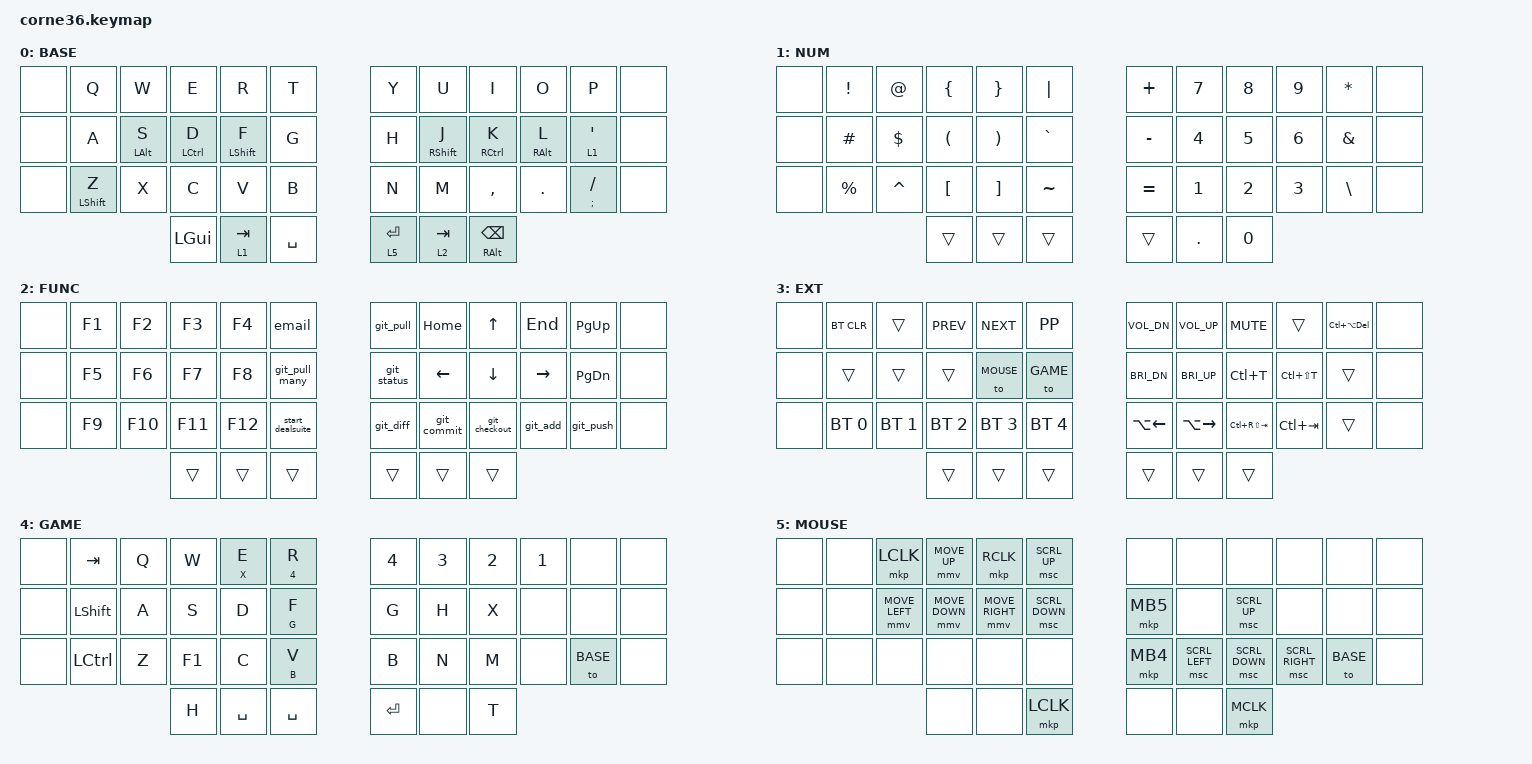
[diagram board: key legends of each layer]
/*
 * Copyright (c) 2020 The ZMK Contributors
 *
 * SPDX-License-Identifier: MIT
 */

#include <behaviors.dtsi>
#include <dt-bindings/zmk/bt.h>
#include <dt-bindings/zmk/keys.h>

#define ZMK_POINTING_DEFAULT_MOVE_VAL 1500  // default: 600
#define ZMK_POINTING_DEFAULT_SCRL_VAL 20    // default: 10

#include <dt-bindings/zmk/pointing.h>

#define BASE  0
#define NUM   1
#define FUNC  2
#define EXT   3
#define GAME  4
#define MOUSE 5

&soft_off {
    hold-time-ms = <2000>; // Only turn off it the key is held for 2 seconds or longer.
};


/ {
    behaviors {
        hm: homerow_mods {
            compatible = "zmk,behavior-hold-tap";
            bindings = <&kp>, <&kp>;

            #binding-cells = <2>;
            tapping-term-ms = <200>;
            flavor = "tap-preferred";
            require-prior-idle-ms = <125>;
            quick-tap-ms = <200>;
        };
    };

    combos {
        compatible = "zmk,combos";

        Clear_BLE_Profile {
            bindings = <&bt BT_CLR>;
            key-positions = <38 5 1>;
        };

        space {
            bindings = <&kp SPACE>;
            key-positions = <18 19>;
        };

        enter {
            bindings = <&kp ENTER>;
            key-positions = <17 16>;
        };

        return {
            bindings = <&kp RET>;
            key-positions = <21 22>;
        };

        escape {
            bindings = <&kp ESC>;
            key-positions = <1 2>;
        };

        underline {
            bindings = <&kp UNDER>;
            key-positions = <8 7>;
        };

        dash {
            bindings = <&kp MINUS>;
            key-positions = <7 6>;
        };

        backslsh {
            bindings = <&kp BSLH>;
            key-positions = <33 34>;
        };

        reload {
            bindings = <&kp LC(R)>;
            key-positions = <4 5>;
        };

        undo {
            bindings = <&kp LC(Z)>;
            key-positions = <26 25>;
        };

        cut {
            bindings = <&kp LC(X)>;
            key-positions = <26 27>;
        };

        copy {
            bindings = <&kp LC(C)>;
            key-positions = <27 28>;
        };

        paste {
            bindings = <&kp LC(V)>;
            key-positions = <28 29>;
        };

        select_all {
            bindings = <&kp LC(A)>;
            key-positions = <13 14>;
        };

        save {
            bindings = <&kp LC(S)>;
            key-positions = <14 15>;
        };

        all_caps {
            bindings = <&kp CAPS>;
            key-positions = <16 19>;
        };

        soft_off {
            bindings = <&soft_off>;
            key-positions = <25 29 38>;
        };

        backspace {
            bindings = <&kp BACKSPACE>;
            key-positions = <10 9>;
        };
    };

    macros {
        email: email {
            compatible = "zmk,behavior-macro";
            #binding-cells = <0>;
            bindings = <&none &kp B &kp R &kp Y &kp A &kp N &kp AT &kp P &kp E &kp C &kp J &kp O &kp DOT &kp C &kp O &kp M>;
            wait-ms = <0>; 
        };

        git_status: git_status {
            compatible = "zmk,behavior-macro";
            #binding-cells = <0>;
            bindings = <&kp G &kp I &kp T &kp SPACE &kp S &kp T &kp A &kp T &kp U &kp S>;
            wait-ms = <0>; 
        };

        git_pull: git_pull {
            compatible = "zmk,behavior-macro";
            #binding-cells = <0>;
            bindings = <&kp G &kp I &kp T &kp SPACE &kp P &kp U &kp L &kp L>;
            wait-ms = <0>; 
        };

        git_pull_many: git_pull_many {
            compatible = "zmk,behavior-macro";
            #binding-cells = <0>;
            bindings = <
                &kp LC(R) &kp G &kp I &kp T &kp SPACE
                &kp MINUS &kp LEFT_SHIFT &kp C
                &kp SPACE &kp LBRC &kp RBRC &kp SPACE
                &kp P &kp U &kp L &kp L &kp SQT
            >;
            wait-ms = <0>; 
        };

        git_push: git_push {
            compatible = "zmk,behavior-macro";
            #binding-cells = <0>;
            bindings = <&kp G &kp I &kp T &kp SPACE &kp P &kp U &kp S &kp H>;
            wait-ms = <0>; 
        };

        git_add: git_add {
            compatible = "zmk,behavior-macro";
            #binding-cells = <0>;
            bindings = <&kp G &kp I &kp T &kp SPACE &kp A &kp D &kp D &kp SPACE &kp DOT>;
            wait-ms = <0>; 
        };

        git_diff: git_diff {
            compatible = "zmk,behavior-macro";
            #binding-cells = <0>;
            bindings = <&kp G &kp I &kp T &kp SPACE &kp D &kp I &kp F &kp F>;
            wait-ms = <0>; 
        };

        git_checkout: git_checkout {
            compatible = "zmk,behavior-macro";
            #binding-cells = <0>;
            bindings = <&kp G &kp I &kp T &kp SPACE &kp C &kp H &kp E &kp C &kp K &kp O &kp U &kp T &kp SPACE>;
            wait-ms = <0>; 
        };

        git_commit: git_commit {
            compatible = "zmk,behavior-macro";
            #binding-cells = <0>;
            bindings = <
                &kp G &kp I &kp T &kp SPACE &kp C &kp O &kp M &kp M &kp I &kp T &kp SPACE 
                &kp MINUS &kp M &kp SPACE &kp DOUBLE_QUOTES &kp DOUBLE_QUOTES &kp LEFT
            >;
            wait-ms = <0>; 
        };

        start_dealsuite: start_dealsuite {
            compatible = "zmk,behavior-macro";
            #binding-cells = <0>;
            bindings =
                <&kp LC(R)>,
                <&macro_wait_time 50>,
                <&kp C &kp E &kp L &kp E &kp RET>,
                <&macro_wait_time 2000>,
                <&kp LC(LS(N5)) &kp LC(R)>,
                <&macro_wait_time 50>,
                <&kp R &kp U &kp N &kp SPACE &kp RET>,
                <&macro_wait_time 2000>,
                <&kp LC(LS(N5)) &kp LC(R)>,
                <&macro_wait_time 50>,
                <&kp A &kp P &kp P &kp DOT &kp RET>,
                <&macro_wait_time 2000>,
                <&kp LC(LS(N5)) &kp LC(R)>,
                <&macro_wait_time 50>,
                <&kp R &kp U &kp N &kp S &kp RET>,
                <&macro_wait_time 2000>,
                <&kp LC(LS(N1)) &kp LC(R)>,
                <&macro_wait_time 50>
                //,<&kp N &kp G &kp RET>
                ;
        };
    };

    keymap {
        compatible = "zmk,keymap";

        base_layer {
            label = "BASE";
            //╭──────────┬──────────┬──────────┬──────────┬──────────╮   ╭──────────┬──────────┬──────────┬──────────┬──────────╮
            //│    Q   [esc]  W     │     E    │    R [reload]  T    │   │   Y    [ - ]  U   [ _ ]  I     │   O    [ ⌫ ]  P    │
            //├──────────┼──────────┼──────────┼──────────┼──────────┤   ├──────────┼──────────┼──────────┼──────────┼──────────┤
            //│    A   [all]  S   [save]  D    │    F   [ ↵ ]   G    │   │   H   [space]  J    │    K     │   L    [ ↵ ]  '"    │
            //├──────────┼──────────┼──────────┼──────────┼──────────┤   ├──────────┼──────────┼──────────┼──────────┼──────────┤
            //│    Z   [ ⭮ ]  X  [ ✂ ]   C  [copy] V  [paste]  B    │   │   N      │    M     │   ,<     │  .>    [ \ ]  /?    │
            //╰──────────┴──────────┼──────────┼──────────┼──────────┤   ├──────────┼──────────┼──────────┼──────────┴──────────╯
            //                      │    ⊞     │  🔽/↹  │  SPACE   │   │   🖯/⏎   │   🔼/↹  │  ALT/⌫  │
            //                      ╰──────────┴──────────┴──────────╯   ╰──────────┴──────────┴──────────╯

            bindings = <
&none  &kp Q       &kp W      &kp E       &kp R       &kp T         &kp Y     &kp U       &kp I       &kp O      &kp P         &none
&none  &kp A       &hm LALT S &hm LCTRL D &hm LSHFT F &kp G         &kp H     &hm RSHFT J &hm RCTRL K &hm RALT L &lt 1 SQT     &none
&none  &hm LSHFT Z &kp X      &kp C       &kp V       &kp B         &kp N     &kp M       &kp COMMA   &kp DOT    &hm SEMI FSLH &none
                              &kp LGUI    &lt 1 TAB   &kp SPACE     &lt 5 RET &lt 2 TAB   &hm RALT BSPC
            >;
        };

        num_layer {
            label = "NUM";
            //╭──────────┬──────────┬──────────┬──────────┬──────────╮   ╭──────────┬──────────┬──────────┬──────────┬──────────╮
            //|  !       |  @       |  {       |  }       | "|"      |   |  +       |  7       |  8       |  9       |  *       |
            //├──────────┼──────────┼──────────┼──────────┼──────────┤   ├──────────┼──────────┼──────────┼──────────┼──────────┤
            //|  #       |  $       |  (       |  )       |  `       |   |  -       |  4       |  5       |  6       |  &       |
            //├──────────┼──────────┼──────────┼──────────┼──────────┤   ├──────────┼──────────┼──────────┼──────────┼──────────┤
            //|  %       |  ^       |  [       |  ]       |  ~       |   |  =       |  1       |  2       |  3       |  \       |
            //╰──────────┴──────────┼──────────┼──────────┼──────────┤   ├──────────┼──────────┼──────────┼──────────┴──────────╯
            //                      |          |    🔴    |          │   │          │  .       |  0       |
            //                      ╰──────────┴──────────┴──────────╯   ╰──────────┴──────────┴──────────╯

            bindings = <
&none  &kp EXCL    &kp AT     &kp LBRC  &kp RBRC  &kp PIPE       &kp PLUS   &kp N7   &kp N8  &kp N9  &kp STAR  &none
&none  &kp HASH    &kp DOLLAR &kp LPAR  &kp RPAR  &kp GRAVE      &kp MINUS  &kp N4   &kp N5  &kp N6  &kp AMPS  &none
&none  &kp PERCENT &kp CARET  &kp LBKT  &kp RBKT  &kp TILDE      &kp EQUAL  &kp N1   &kp N2  &kp N3  &kp BSLH  &none
                              &trans    &trans    &trans         &trans     &kp DOT  &kp N0
            >;
        };

        func_layer {
            label = "FUNC";
            //╭──────────┬──────────┬──────────┬──────────┬──────────╮   ╭──────────┬──────────┬──────────┬──────────┬──────────╮
            //|   F1     |  F2      |  F3      |  F4      | email    |   | g.pull   |  HOME    |  ▲       |  END     |  PG_UP   |
            //├──────────┼──────────┼──────────┼──────────┼──────────┤   ├──────────┼──────────┼──────────┼──────────┼──────────┤
            //|   F5     |  F6      |  F7      |  F8      | g.pull_m |   | g.status |   ◄      |  ▼       |  ►       |  PG_DN   |
            //├──────────┼──────────┼──────────┼──────────┼──────────┤   ├──────────┼──────────┼──────────┼──────────┼──────────┤
            //|   F9     |  F10     |  F11     |  F12     | dealsuit |   | g.diff   | g.commit | g.chkout |  g.add   |  g.push  |
            //╰──────────┴──────────┼──────────┼──────────┼──────────┤   ├──────────┼──────────┼──────────┼──────────┴──────────╯
            //                      |          |          |          |   |          |   🔴     |          |
            //                      ╰──────────┴──────────┴──────────╯   ╰──────────┴──────────┴──────────╯

            bindings = <
&none  &kp F1 &kp F2  &kp F3  &kp F4  &email                &git_pull   &kp HOME    &kp UP        &kp END   &kp PG_UP      &none
&none  &kp F5 &kp F6  &kp F7  &kp F8  &git_pull_many        &git_status &kp LEFT    &kp DOWN      &kp RIGHT &kp PAGE_DOWN  &none
&none  &kp F9 &kp F10 &kp F11 &kp F12 &start_dealsuite      &git_diff   &git_commit &git_checkout &git_add  &git_push      &none
                      &trans  &trans  &trans                &trans      &trans      &trans
            >;
        };

        extended_layer {
            label = "EXT";
            //╭──────────┬──────────┬──────────┬──────────┬──────────╮   ╭──────────┬──────────┬──────────┬──────────┬──────────╮
            //|   ᛒ🗙    |          |    ⏮    |    ⏭     |    ⏯     |   |   🔉    |    🔊    |   🔇     |          |    ⏻    |
            //├──────────┼──────────┼──────────┼──────────┼──────────┤   ├──────────┼──────────┼──────────┼──────────┼──────────┤
            //|          |          |          |    ⚪   |    🔵    |   |   🔅    |    🔆    |  ^ T     |  ^⇧ T    |          |
            //├──────────┼──────────┼──────────┼──────────┼──────────┤   ├──────────┼──────────┼──────────┼──────────┼──────────┤
            //|   ᛒ1     |   ᛒ2     |   ᛒ3     |   ᛒ4     |   ᛒ5     |   |  alt-◄   |  alt-►   |  ^ Tab   |  ^⇧ Tab  |          |
            //╰──────────┴──────────┼──────────┼──────────┼──────────┤   ├──────────┼──────────┼──────────┼──────────┴──────────╯
            //                      |          |    🔴   |          |   |          |   ⭕     |          |
            //                      ╰──────────┴──────────┴──────────╯   ╰──────────┴──────────┴──────────╯
            bindings = <
&none &bt BT_CLR   &trans       &kp C_PREV   &kp C_NEXT   &kp K_PP          &kp C_VOL_DN  &kp C_VOL_UP  &kp C_MUTE      &trans        &kp LC(LA(DEL))  &none
&none &trans       &trans       &trans       &to MOUSE    &to GAME          &kp C_BRI_DN  &kp C_BRI_UP  &kp LC(T)       &kp LC(LS(T)) &trans           &none
&none &bt BT_SEL 0 &bt BT_SEL 1 &bt BT_SEL 2 &bt BT_SEL 3 &bt BT_SEL 4      &kp LA(LEFT)  &kp LA(RIGHT) &kp LC(RS(TAB)) &kp LC(TAB)   &trans           &none
                                &trans       &trans       &trans            &trans        &trans        &trans
            >;
        };

        game_layer {
            label = "GAME";
            //╭──────────┬──────────┬──────────┬──────────┬──────────╮   ╭──────────┬──────────┬──────────┬──────────┬──────────╮
            //|  Inv     |  Tact.A  |  ▲       |  Hands   |  Reload  |   | Health   |  3       |  4       |   1      |   2      |
            //├──────────┼──────────┼──────────┼──────────┼──────────┤   ├──────────┼──────────┼──────────┼──────────┼──────────┤
            //|  Sprint  |  ◄       |  ▼       |  ►       |  Ping    |   | Grenade  | CharMove |  X       |          |          |
            //├──────────┼──────────┼──────────┼──────────┼──────────┤   ├──────────┼──────────┼──────────┼──────────┼──────────┤
            //|  Crouch  |  Ulti.A  |  F1      |  Crouch  |  Melee   |   | FireMode | Look Gun |  Map     |          |    🟢    |
            //╰──────────┴──────────┼──────────┼──────────┼──────────┤   ├──────────┼──────────┼──────────┼──────────┴──────────╯
            //                      |  Grenade |  Jump    | Jump     │   │  ENTER   │          |  T       |
            //                      ╰──────────┴──────────┴──────────╯   ╰──────────┴──────────┴──────────╯
            bindings = <
&none  &kp TAB    &kp Q  &kp W   &hm X E    &hm N4 R     &kp N4   &kp N3  &kp N2  &kp N1  &none     &none
&none  &kp LSHFT  &kp A  &kp S   &kp D      &hm G F      &kp G    &kp H   &kp X   &none   &none     &none
&none  &kp LCTRL  &kp Z  &kp F1  &kp C      &hm B V      &kp B    &kp N   &kp M   &none   &to BASE  &none
                         &kp H   &kp SPACE  &kp SPACE    &kp RET  &none   &kp T
            >;
        };

        mouse_layer {
            label = "MOUSE";
            //╭──────────┬──────────┬──────────┬──────────┬──────────╮   ╭──────────┬──────────┬──────────┬──────────┬──────────╮
            //|          |  L.CLK   |  🖯 ▲    |  R.CLK   |  S ▲     |   |          |          |          |          |          |
            //├──────────┼──────────┼──────────┼──────────┼──────────┤   ├──────────┼──────────┼──────────┼──────────┼──────────┤
            //|          |  🖯 ◄    |  🖯 ▼    |  🖯 ►    |  S ▼     |   |   🖯 5   |          |  S ▲     |          |           |
            //├──────────┼──────────┼──────────┼──────────┼──────────┤   ├──────────┼──────────┼──────────┼──────────┼──────────┤
            //|          |          |          |          |          |   |   🖯 4   |  S ◄     |  S ▼     |  S ►     |    🟢    |
            //╰──────────┴──────────┼──────────┼──────────┼──────────┤   ├──────────┼──────────┼──────────┼──────────┴──────────╯
            //                      |          |          |  L.CLK   │   │    🔴    |          |  M.CLK   |
            //                      ╰──────────┴──────────┴──────────╯   ╰──────────┴──────────┴──────────╯
            bindings = <
&none  &none  &mkp LCLK      &mmv MOVE_UP   &mkp RCLK       &msc SCRL_UP      &none      &none          &none          &none           &none    &none
&none  &none  &mmv MOVE_LEFT &mmv MOVE_DOWN &mmv MOVE_RIGHT &msc SCRL_DOWN    &mkp MB5   &none          &msc SCRL_UP   &none           &none    &none
&none  &none  &none          &none          &none           &none             &mkp MB4   &msc SCRL_LEFT &msc SCRL_DOWN &msc SCRL_RIGHT &to BASE &none
                             &none          &none           &mkp LCLK         &none      &none          &mkp MCLK
            >;
        };
    };

    conditional_layers {
        compatible = "zmk,conditional-layers";

        Activate_EXT {
            if-layers = <NUM FUNC>;
            then-layer = <EXT>;
        };
    };
};
